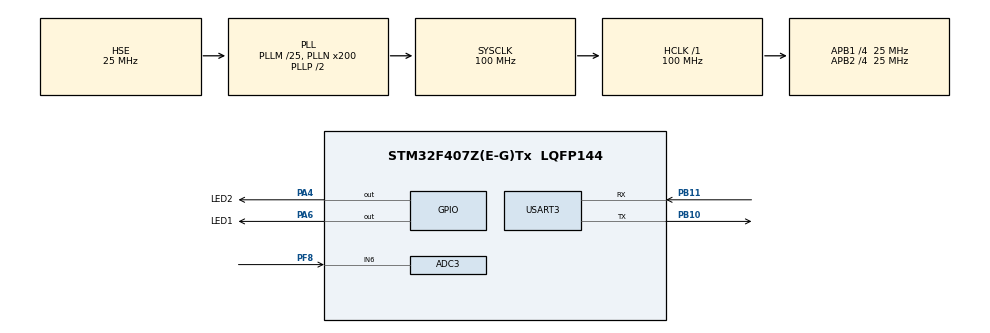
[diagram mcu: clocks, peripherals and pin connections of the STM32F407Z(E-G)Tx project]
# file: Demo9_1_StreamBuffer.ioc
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ADC3.Channel-0\#ChannelRegularConversion=ADC_CHANNEL_6
ADC3.ExternalTrigConv=ADC_EXTERNALTRIGCONV_T3_TRGO
ADC3.NbrOfConversionFlag=1
ADC3.Rank-0\#ChannelRegularConversion=1
ADC3.SamplingTime-0\#ChannelRegularConversion=ADC_SAMPLETIME_15CYCLES
FREERTOS.Tasks01=Task_Main,24,256,AppTask_Main,Default,NULL,Dynamic,NULL,NULL
FREERTOS.configUSE_NEWLIB_REENTRANT=1
Mcu.Family=STM32F4
Mcu.Name=STM32F407Z(E-G)Tx
Mcu.Package=LQFP144
NVIC.ADC_IRQn=true\:5\:0\:false\:false\:true\:true\:true\:true\:true
NVIC.PriorityGroup=NVIC_PRIORITYGROUP_4
NVIC.TIM6_DAC_IRQn=true\:0\:0\:true\:false\:true\:false\:false\:true\:true
NVIC.TimeBase=TIM6_DAC_IRQn
NVIC.TimeBaseIP=TIM6
PA13.Mode=Serial_Wire
PA13.Signal=SYS_JTMS-SWDIO
PA14.Mode=Serial_Wire
PA14.Signal=SYS_JTCK-SWCLK
PA4.GPIO_Label=LED2
PA4.GPIO_Speed=GPIO_SPEED_FREQ_HIGH
PA4.PinState=GPIO_PIN_SET
PA4.Signal=GPIO_Output
PA6.GPIO_Label=LED1
PA6.GPIO_Speed=GPIO_SPEED_FREQ_HIGH
PA6.PinState=GPIO_PIN_SET
PA6.Signal=GPIO_Output
PB10.Mode=Asynchronous
PB10.Signal=USART3_TX
PB11.Mode=Asynchronous
PB11.Signal=USART3_RX
PF8.Mode=IN6
PF8.Signal=ADC3_IN6
PH0-OSC_IN.Mode=HSE-External-Oscillator
PH0-OSC_IN.Signal=RCC_OSC_IN
PH1-OSC_OUT.Mode=HSE-External-Oscillator
PH1-OSC_OUT.Signal=RCC_OSC_OUT
ProjectManager.HeapSize=0x200
ProjectManager.StackSize=0x400
ProjectManager.TargetToolchain=STM32CubeIDE
RCC.48MHZClocksFreq_Value=50000000
RCC.AHBFreq_Value=100000000
RCC.APB1CLKDivider=RCC_HCLK_DIV4
RCC.APB1Freq_Value=25000000
RCC.APB1TimFreq_Value=50000000
RCC.APB2CLKDivider=RCC_HCLK_DIV4
RCC.APB2Freq_Value=25000000
RCC.APB2TimFreq_Value=50000000
RCC.CortexFreq_Value=100000000
RCC.HCLKFreq_Value=100000000
RCC.HSE_VALUE=25000000
RCC.HSI_VALUE=16000000
RCC.LSE_VALUE=32768
RCC.PLLM=25
RCC.PLLN=200
RCC.PLLSourceVirtual=RCC_PLLSOURCE_HSE
RCC.SYSCLKFreq_VALUE=100000000
RCC.SYSCLKSource=RCC_SYSCLKSOURCE_PLLCLK
RCC.VCOOutputFreq_Value=200000000
TIM3.Period=199
TIM3.Prescaler=49999
TIM3.TIM_MasterOutputTrigger=TIM_TRGO_UPDATE
USART3.VirtualMode=VM_ASYNC
VP_FREERTOS_VS_CMSIS_V2.Mode=CMSIS_V2
VP_SYS_VS_tim6.Mode=TIM6
VP_TIM3_VS_ClockSourceINT.Mode=Internal
board=custom

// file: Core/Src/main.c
/* USER CODE BEGIN Header */
/**
  ******************************************************************************
  * @file           : main.c
  * @brief          : Main program body
  ******************************************************************************
  * @attention
  *
  * Copyright (c) 2025 STMicroelectronics.
  * All rights reserved.
  *
  * This software is licensed under terms that can be found in the LICENSE file
  * in the root directory of this software component.
  * If no LICENSE file comes with this software, it is provided AS-IS.
  *
  ******************************************************************************
  */
/* USER CODE END Header */
#include "main.h"
#include "cmsis_os.h"
#include "adc.h"
#include "tim.h"
#include "usart.h"
#include "gpio.h"

void SystemClock_Config(void);
void MX_FREERTOS_Init(void);

int main(void)
{

  /* MCU Configuration--------------------------------------------------------*/

  /* Reset of all peripherals, Initializes the Flash interface and the Systick. */
  HAL_Init();

  /* Configure the system clock */
  SystemClock_Config();

  /* Initialize all configured peripherals */
  MX_GPIO_Init();
  MX_USART3_UART_Init();
  MX_ADC3_Init();
  MX_TIM3_Init();
  /* USER CODE BEGIN 2 */
  //Start Menu
  uint8_t startstr[] = "Demo9_1: Using Stream Buffer.\r\n\r\n";
  HAL_UART_Transmit(&huart3,startstr,sizeof(startstr),0xFFFF);

  HAL_ADC_Start_IT(&hadc3);
  HAL_TIM_Base_Start(&htim3);
  /* USER CODE END 2 */

  /* Init scheduler */
  osKernelInitialize();

  /* Call init function for freertos objects (in cmsis_os2.c) */
  MX_FREERTOS_Init();

  /* Start scheduler */
  osKernelStart();

  /* We should never get here as control is now taken by the scheduler */

  /* Infinite loop */
  while (1)
  {

  }
}

void SystemClock_Config(void)
{
  RCC_OscInitTypeDef RCC_OscInitStruct = {0};
  RCC_ClkInitTypeDef RCC_ClkInitStruct = {0};

  /** Configure the main internal regulator output voltage
  */
  __HAL_RCC_PWR_CLK_ENABLE();
  __HAL_PWR_VOLTAGESCALING_CONFIG(PWR_REGULATOR_VOLTAGE_SCALE1);

  /** Initializes the RCC Oscillators according to the specified parameters
  * in the RCC_OscInitTypeDef structure.
  */
  RCC_OscInitStruct.OscillatorType = RCC_OSCILLATORTYPE_HSE;
  RCC_OscInitStruct.HSEState = RCC_HSE_ON;
  RCC_OscInitStruct.PLL.PLLState = RCC_PLL_ON;
  RCC_OscInitStruct.PLL.PLLSource = RCC_PLLSOURCE_HSE;
  RCC_OscInitStruct.PLL.PLLM = 25;
  RCC_OscInitStruct.PLL.PLLN = 200;
  RCC_OscInitStruct.PLL.PLLP = RCC_PLLP_DIV2;
  RCC_OscInitStruct.PLL.PLLQ = 4;
  if (HAL_RCC_OscConfig(&RCC_OscInitStruct) != HAL_OK)
  {
    Error_Handler();
  }

  /** Initializes the CPU, AHB and APB buses clocks
  */
  RCC_ClkInitStruct.ClockType = RCC_CLOCKTYPE_HCLK|RCC_CLOCKTYPE_SYSCLK
                              |RCC_CLOCKTYPE_PCLK1|RCC_CLOCKTYPE_PCLK2;
  RCC_ClkInitStruct.SYSCLKSource = RCC_SYSCLKSOURCE_PLLCLK;
  RCC_ClkInitStruct.AHBCLKDivider = RCC_SYSCLK_DIV1;
  RCC_ClkInitStruct.APB1CLKDivider = RCC_HCLK_DIV4;
  RCC_ClkInitStruct.APB2CLKDivider = RCC_HCLK_DIV4;

  if (HAL_RCC_ClockConfig(&RCC_ClkInitStruct, FLASH_LATENCY_3) != HAL_OK)
  {
    Error_Handler();
  }
}

void HAL_TIM_PeriodElapsedCallback(TIM_HandleTypeDef *htim)
{
  if (htim->Instance == TIM6)
  {
    HAL_IncTick();
  }
}

void Error_Handler(void)
{
  __disable_irq();
  while (1)
  {
  }
}

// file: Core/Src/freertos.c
/* USER CODE BEGIN Header */
/**
  ******************************************************************************
  * File Name          : freertos.c
  * Description        : Code for freertos applications
  ******************************************************************************
  * @attention
  *
  * Copyright (c) 2025 STMicroelectronics.
  * All rights reserved.
  *
  * This software is licensed under terms that can be found in the LICENSE file
  * in the root directory of this software component.
  * If no LICENSE file comes with this software, it is provided AS-IS.
  *
  ******************************************************************************
  */
/* USER CODE END Header */

#include "FreeRTOS.h"
#include "task.h"
#include "main.h"
#include "cmsis_os.h"

/* USER CODE BEGIN Includes */
#include "stream_buffer.h"
#include "usart.h"
#include "keyled.h"
#include <stdio.h>
/* USER CODE END Includes */

/* USER CODE BEGIN PD */
#define  BUFFER_LEN     80			//流缓存区大小，字节数
#define  TRIGGER_LEVEL  20			//触发水平，字节数
/* USER CODE END PD */

/* USER CODE BEGIN Variables */
StreamBufferHandle_t  streamBuf;	//流缓冲区句柄变量
/* USER CODE END Variables */
/* Definitions for Task_Main */
osThreadId_t Task_MainHandle;
const osThreadAttr_t Task_Main_attributes = {
  .name = "Task_Main",
  .stack_size = 256 * 4,
  .priority = (osPriority_t) osPriorityNormal,
};

void AppTask_Main(void *argument);

void MX_FREERTOS_Init(void); /* (MISRA C 2004 rule 8.1) */

void MX_FREERTOS_Init(void) {

  /* Create the thread(s) */
  /* creation of Task_Main */
  Task_MainHandle = osThreadNew(AppTask_Main, NULL, &Task_Main_attributes);

  /* USER CODE BEGIN RTOS_THREADS */
  /* add threads, ... */
  streamBuf=xStreamBufferCreate(BUFFER_LEN, TRIGGER_LEVEL);   //创建流缓存区
  /* USER CODE END RTOS_THREADS */

}

void AppTask_Main(void *argument)
{
	/* USER CODE BEGIN AppTask_Main */
	/* Infinite loop */
	printf("Stream Buffer length= %d\r\n",BUFFER_LEN);
	printf("Trigger Level= %d\r\n",TRIGGER_LEVEL);

	uint16_t requiredBytes=32;  //需要≥TRIGGER_LEVEL=20;
	printf("Required bytes= %d\r\n",requiredBytes);

	uint32_t adcArray[10];			//最多读取10个数据点求平均，40字节

	for(;;)
	{
		uint16_t actualReadBytes=xStreamBufferReceive(streamBuf, adcArray,
				requiredBytes, portMAX_DELAY);
		LED1_Toggle();
		printf("Actual read bytes= %d\r\n",actualReadBytes);

		uint8_t	 actualItems=actualReadBytes/4;   //实际的数据点个数, 每个数据点4字节
		uint32_t sum=0;
		for( uint8_t i=0; i<actualItems; i++)
			sum += adcArray[i];
		sum= sum/actualItems;  //计算平均值
		printf("Average ADC Value= %ld\r\n",sum);//显示平均值
	}
	/* USER CODE END AppTask_Main */
}

/* USER CODE BEGIN Application */
void HAL_ADC_ConvCpltCallback(ADC_HandleTypeDef* hadc)
{
	if (hadc->Instance != ADC3)
		return;

	uint32_t adc_value=HAL_ADC_GetValue(hadc);	//ADC转换原始数据
	BaseType_t  highTaskWoken=pdFALSE;
	if (streamBuf != NULL)
	{
		xStreamBufferSendFromISR(streamBuf, &adc_value, 4, &highTaskWoken);
		portYIELD_FROM_ISR(highTaskWoken);  		//申请进行任务切换
	}
}

int __io_putchar(int ch)
{
	HAL_UART_Transmit(&huart3,(uint8_t*)&ch,1,0xFFFF);
	return ch;
}
/* USER CODE END Application */
